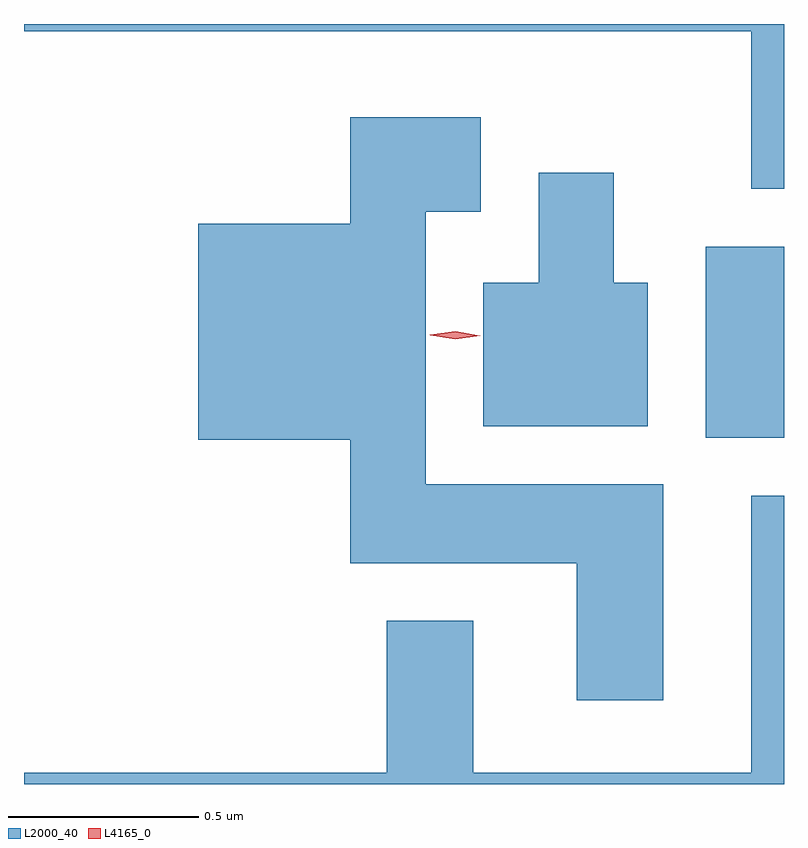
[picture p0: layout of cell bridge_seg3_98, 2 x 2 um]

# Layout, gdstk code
import gdstk
lib = gdstk.Library(unit=1e-6, precision=1e-09)
def R(c, l, rs):  # rectangles x0, y0, x1, y1
    for r in rs: c.add(gdstk.rectangle(r[:2], r[2:], *l))
def P(c, l, *ps):  # polygons
    for p in ps: c.add(gdstk.Polygon(p, *l))
L2000_40 = (2000, 40)
L4165_0 = (4165, 0)

bridge_seg3_98 = lib.new_cell('bridge_seg3_98')
R(bridge_seg3_98, L2000_40, [(913.681,1213.746,913.887,1214.249)])
P(bridge_seg3_98, L2000_40, [(913.887,1214.835),(911.887,1214.835),(911.887,1214.816),(913.801,1214.816),(913.801,1214.401),(913.887,1214.401)],
  [(913.569,1213.624),(912.944,1213.624),(912.944,1214.341),(913.089,1214.341),(913.089,1214.589),(912.746,1214.589),(912.746,1214.309),(912.346,1214.309),(912.346,1213.741),(912.746,1213.741),(912.746,1213.416),(913.341,1213.416),(913.341,1213.056),(913.569,1213.056)],
  [(913.529,1214.154),(913.439,1214.154),(913.439,1214.444),(913.241,1214.444),(913.241,1214.154),(913.096,1214.154),(913.096,1213.776),(913.529,1213.776)],
  [(913.887,1213.594),(913.801,1213.594),(913.801,1212.864),(913.069,1212.864),(913.069,1213.264),(912.841,1213.264),(912.841,1212.864),(911.887,1212.864),(911.887,1212.835),(913.887,1212.835)])
P(bridge_seg3_98, L4165_0, [(913.022,1214.006),(912.956,1214.016),(912.955,1214.017),(912.956,1214.017),(913.022,1214.026),(913.087,1214.015),(913.088,1214.015),(913.087,1214.014)])

lib.write_gds('bridge_seg3_98.gds')
